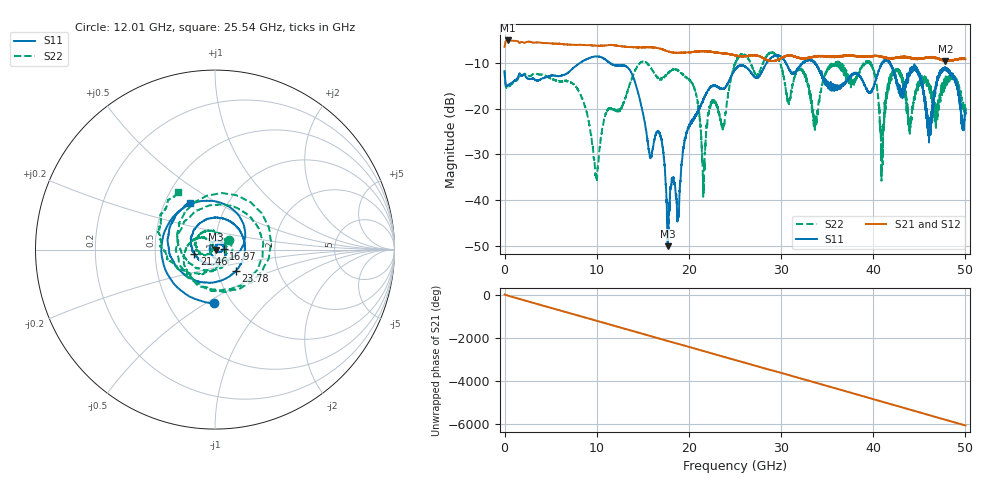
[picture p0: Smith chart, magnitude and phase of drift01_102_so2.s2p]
!Created with skrf (http://scikit-rf.org).
# Hz S RI R 50.0
!freq ReS11 ImS11 ReS21 ImS21 ReS12 ImS12 ReS22 ImS22
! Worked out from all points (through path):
!   10001 points, 300 kHz to 50 GHz, reference 50 ohm
!   highest |S21| = -5.05 dB at 360.3 MHz (marker M1); lowest = -9.6 dB at 47.84 GHz (marker M2)
!   group delay of S21, straight-line fit = 336 ps
!   lowest |S11| = -50.1 dB at 17.69 GHz (marker M3), VSWR 1.01, Z = 50.3 - j0.104 ohm
!   |S11| at or under -10 dB: start of sweep to 8.163 GHz; 11.43 GHz to 28.42 GHz (16.99 GHz wide, 85.3 % of centre); 41.8 GHz to end of sweep (the widest 3 of 11)
!   |S22| runs from -39.3 to -7.7 dB; largest |S21 - S12| = 0.016
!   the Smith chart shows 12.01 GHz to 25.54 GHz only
!   S11 on the Smith chart (normalised r, x): 12.01 GHz: 0.83, -0.54; 16.97 GHz: 1.10, +0.01; 21.46 GHz: 0.79, -0.04; 23.78 GHz: 1.22, -0.30; 25.54 GHz: 0.67, +0.38
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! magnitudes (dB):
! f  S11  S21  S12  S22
! 300 kHz  -11.8  -6.5  -6.5  -11.8
! 360.3 MHz  -14.9  -5.1  -5.1  -15.3
! 8.335 GHz  -9.8  -6.0  -6.0  -17.5
! 9.935 GHz  -8.5  -6.2  -6.2  -34.4
! 12.01 GHz  -10.5  -6.1  -6.2  -20.4
! 16.67 GHz  -24.9  -6.7  -6.8  -13.4
! 16.97 GHz  -26.4  -6.9  -6.9  -13.4
! 17.69 GHz  -50.1  -7.4  -7.4  -12.3
! 20.52 GHz  -22.2  -7.6  -7.6  -15.0
! 21.46 GHz  -18.7  -7.4  -7.4  -31.4
! 22.47 GHz  -15.1  -7.5  -7.6  -19.0
! 23.78 GHz  -15.6  -7.9  -7.9  -23.2
! 25 GHz  -11.4  -8.3  -8.3  -10.4
! 25.54 GHz  -10.5  -8.5  -8.5  -8.4
! 33.34 GHz  -9.4  -8.7  -8.7  -19.1
! 39.5 GHz  -16.5  -8.6  -8.6  -9.9
! 40.95 GHz  -10.1  -8.7  -8.6  -29.2
! 41.67 GHz  -9.6  -8.9  -9.0  -15.0
! 44.76 GHz  -11.3  -9.1  -9.0  -15.1
! 46.1 GHz  -25.9  -8.8  -8.7  -15.3
! 47.84 GHz  -11.2  -9.6  -9.5  -13.8
! 50 GHz  -20.9  -9.2  -9.1  -20.1
